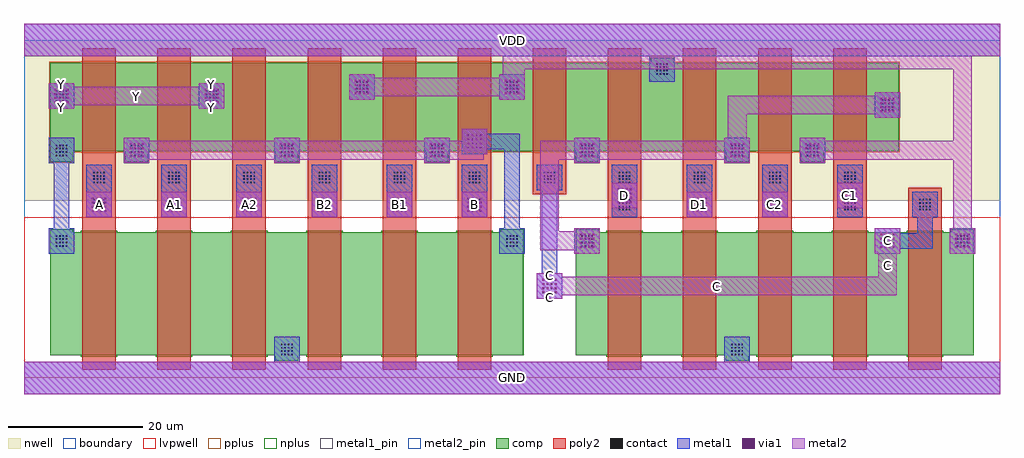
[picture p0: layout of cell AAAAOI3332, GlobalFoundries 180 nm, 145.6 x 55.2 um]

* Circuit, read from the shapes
.subckt AAAAOI3332 A A1 A2 B B1 B2 C C1 C2 D D1 GND VDD Y
XM1 n1 A Y VSUBS nfet_03v3 w=18.3u l=5u
XM2 n2 A1 n1 VSUBS nfet_03v3 w=18.3u l=5u
XM3 GND A2 n2 VSUBS nfet_03v3 w=18.3u l=5u
XM4 n3 B2 GND VSUBS nfet_03v3 w=18.3u l=5u
XM5 n4 B1 n3 VSUBS nfet_03v3 w=18.3u l=5u
XM6 n5 B n4 VSUBS nfet_03v3 w=18.3u l=5u
XM7 n6 D n7 VSUBS nfet_03v3 w=18.3u l=5u
XM8 GND D1 n6 VSUBS nfet_03v3 w=18.3u l=5u
XM9 n8 C2 GND VSUBS nfet_03v3 w=18.3u l=5u
XM10 n9 C1 n8 VSUBS nfet_03v3 w=18.3u l=5u
XM11 n10 C n9 VSUBS nfet_03v3 w=18.3u l=5u
XM12 n5 A Y n11 pfet_03v3 w=13.2u l=5u
XM13 Y A1 n5 n11 pfet_03v3 w=13.2u l=5u
XM14 n5 A2 Y n11 pfet_03v3 w=13.2u l=5u
XM15 n10 B2 n5 n11 pfet_03v3 w=13.2u l=5u
XM16 n5 B1 n10 n11 pfet_03v3 w=13.2u l=5u
XM17 n10 B n5 n11 pfet_03v3 w=13.2u l=5u
XM18 n7 C n10 n11 pfet_03v3 w=13.2u l=5u
XM19 VDD D n7 n11 pfet_03v3 w=13.2u l=5u
XM20 n7 D1 VDD n11 pfet_03v3 w=13.2u l=5u
XM21 n10 C2 n7 n11 pfet_03v3 w=13.2u l=5u
XM22 n7 C1 n10 n11 pfet_03v3 w=13.2u l=5u
.ends

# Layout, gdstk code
import gdstk
lib = gdstk.Library(unit=1e-6, precision=1e-09)
def R(c, l, rs):  # rectangles x0, y0, x1, y1
    for r in rs: c.add(gdstk.rectangle(r[:2], r[2:], *l))
def A(c, l, x, y, w, h, nx, ny, dx, dy):  # array of equal rectangles
    R(c, l, [(x+i*dx, y+j*dy, x+i*dx+w, y+j*dy+h) for i in range(nx) for j in range(ny)])
boundary = (0, 0)
nwell = (21, 0)
comp = (22, 0)
poly2 = (30, 0)
pplus = (31, 0)
nplus = (32, 0)
contact = (33, 0)
metal1 = (34, 0)
metal1_pin = (34, 10)
via1 = (35, 0)
metal2 = (36, 0)
metal2_pin = (36, 10)
lvpwell = (204, 0)

aaaaoi3332 = lib.new_cell('AAAAOI3332')
R(aaaaoi3332, boundary, [(0,0,145.6,50.4)])
R(aaaaoi3332, nwell, [(0,26.45,145.6,50.4)])
A(aaaaoi3332, comp, 15.1, 32.25, 3.4, 1.55, 5, 1, 22.4, 0)
R(aaaaoi3332, comp, [(37.5,2.55,40.9,3.4), (104.7,2.55,108.1,3.4), (3.9,3.4,74.5,21.7), (82.3,3.4,141.7,21.7), (3.9,21.7,7.3,22.15), (71.1,21.7,74.5,22.15), (82.3,21.7,85.7,22.15), (138.3,21.7,141.7,22.15), (3.9,32.25,7.3,33.8), (115.9,32.25,119.3,33.8), (3.9,33.8,130.5,47), (93.5,47,96.9,47.8)])
A(aaaaoi3332, poly2, 8.7, 1.2, 5, 48, 6, 1, 11.2, 0)
A(aaaaoi3332, poly2, 87.1, 1.2, 5, 48, 4, 1, 11.2, 0)
R(aaaaoi3332, poly2, [(131.9,1.2,136.9,28.35), (75.9,27.4,80.9,49.2)])
A(aaaaoi3332, pplus, 14.94, 32.09, 3.72, 1.55, 5, 1, 22.4, 0)
A(aaaaoi3332, pplus, 8.47, 33.57, 5.46, 0.07, 11, 2, 11.2, 13.59)
R(aaaaoi3332, pplus, [(3.74,32.09,7.46,33.64), (115.74,32.09,119.46,33.64), (3.74,33.64,130.66,47.16), (93.34,47.16,97.06,47.96)])
A(aaaaoi3332, nplus, 8.47, 3.17, 5.46, 0.21, 6, 2, 11.2, 18.55)
A(aaaaoi3332, nplus, 86.87, 3.17, 5.46, 0.21, 5, 2, 11.2, 18.55)
R(aaaaoi3332, nplus, [(37.48,2.53,40.92,3.38), (104.68,2.53,108.12,3.38), (3.88,3.38,74.52,21.72), (82.28,3.38,141.72,21.72), (3.88,21.72,7.32,22.17), (71.08,21.72,74.52,22.17), (82.28,21.72,85.72,22.17), (138.28,21.72,141.72,22.17)])
A(aaaaoi3332, contact, 38.34, 3.39, 0.22, 0.22, 4, 4, 0.5, 0.5)
A(aaaaoi3332, contact, 105.54, 3.39, 0.22, 0.22, 4, 4, 0.5, 0.5)
A(aaaaoi3332, contact, 4.74, 19.59, 0.22, 0.22, 4, 4, 0.5, 0.5)
A(aaaaoi3332, contact, 71.94, 19.59, 0.22, 0.22, 4, 4, 0.5, 0.5)
A(aaaaoi3332, contact, 83.14, 19.59, 0.22, 0.22, 4, 4, 0.5, 0.5)
A(aaaaoi3332, contact, 139.14, 19.59, 0.22, 0.22, 4, 4, 0.5, 0.5)
A(aaaaoi3332, contact, 10.34, 24.99, 0.22, 0.22, 4, 4, 0.5, 0.5)
A(aaaaoi3332, contact, 21.54, 24.99, 0.22, 0.22, 4, 4, 0.5, 0.5)
A(aaaaoi3332, contact, 32.74, 24.99, 0.22, 0.22, 4, 4, 0.5, 0.5)
A(aaaaoi3332, contact, 43.94, 24.99, 0.22, 0.22, 4, 4, 0.5, 0.5)
A(aaaaoi3332, contact, 55.14, 24.99, 0.22, 0.22, 4, 4, 0.5, 0.5)
A(aaaaoi3332, contact, 66.34, 24.99, 0.22, 0.22, 4, 4, 0.5, 0.5)
A(aaaaoi3332, contact, 88.74, 24.99, 0.22, 0.22, 4, 4, 0.5, 0.5)
A(aaaaoi3332, contact, 99.94, 24.99, 0.22, 0.22, 4, 4, 0.5, 0.5)
A(aaaaoi3332, contact, 111.14, 24.99, 0.22, 0.22, 4, 4, 0.5, 0.5)
A(aaaaoi3332, contact, 122.34, 24.99, 0.22, 0.22, 4, 4, 0.5, 0.5)
A(aaaaoi3332, contact, 133.54, 24.99, 0.22, 0.22, 4, 4, 0.5, 0.5)
A(aaaaoi3332, contact, 10.34, 29.04, 0.22, 0.22, 4, 4, 0.5, 0.5)
A(aaaaoi3332, contact, 21.54, 29.04, 0.22, 0.22, 4, 4, 0.5, 0.5)
A(aaaaoi3332, contact, 32.74, 29.04, 0.22, 0.22, 4, 4, 0.5, 0.5)
A(aaaaoi3332, contact, 43.94, 29.04, 0.22, 0.22, 4, 4, 0.5, 0.5)
A(aaaaoi3332, contact, 55.14, 29.04, 0.22, 0.22, 4, 4, 0.5, 0.5)
A(aaaaoi3332, contact, 66.34, 29.04, 0.22, 0.22, 4, 4, 0.5, 0.5)
A(aaaaoi3332, contact, 77.54, 29.04, 0.22, 0.22, 4, 4, 0.5, 0.5)
A(aaaaoi3332, contact, 88.74, 29.04, 0.22, 0.22, 4, 4, 0.5, 0.5)
A(aaaaoi3332, contact, 99.94, 29.04, 0.22, 0.22, 4, 4, 0.5, 0.5)
A(aaaaoi3332, contact, 111.14, 29.04, 0.22, 0.22, 4, 4, 0.5, 0.5)
A(aaaaoi3332, contact, 122.34, 29.04, 0.22, 0.22, 4, 4, 0.5, 0.5)
A(aaaaoi3332, contact, 4.74, 33.09, 0.22, 0.22, 4, 4, 0.5, 0.5)
A(aaaaoi3332, contact, 15.94, 33.09, 0.22, 0.22, 4, 4, 0.5, 0.5)
A(aaaaoi3332, contact, 38.34, 33.09, 0.22, 0.22, 4, 4, 0.5, 0.5)
A(aaaaoi3332, contact, 60.74, 33.09, 0.22, 0.22, 4, 4, 0.5, 0.5)
A(aaaaoi3332, contact, 83.14, 33.09, 0.22, 0.22, 4, 4, 0.5, 0.5)
A(aaaaoi3332, contact, 105.54, 33.09, 0.22, 0.22, 4, 4, 0.5, 0.5)
A(aaaaoi3332, contact, 116.74, 33.09, 0.22, 0.22, 4, 4, 0.5, 0.5)
A(aaaaoi3332, contact, 127.94, 39.84, 0.22, 0.22, 4, 4, 0.5, 0.5)
A(aaaaoi3332, contact, 4.74, 41.19, 0.22, 0.22, 4, 4, 0.5, 0.5)
A(aaaaoi3332, contact, 27.14, 41.19, 0.22, 0.22, 4, 4, 0.5, 0.5)
A(aaaaoi3332, contact, 49.54, 42.54, 0.22, 0.22, 4, 4, 0.5, 0.5)
A(aaaaoi3332, contact, 71.94, 42.54, 0.22, 0.22, 4, 4, 0.5, 0.5)
A(aaaaoi3332, contact, 94.34, 45.24, 0.22, 0.22, 4, 4, 0.5, 0.5)
A(aaaaoi3332, metal1, 9.3, 23.95, 3.8, 7.85, 6, 1, 11.2, 0)
A(aaaaoi3332, metal1, 87.7, 23.95, 3.8, 7.85, 4, 1, 11.2, 0)
A(aaaaoi3332, metal1, 14.9, 32.05, 3.8, 3.8, 5, 1, 22.4, 0)
R(aaaaoi3332, metal1, [(0,-2.4,145.6,2.4), (37.3,2.4,41.1,6.15), (104.5,2.4,108.3,6.15), (76.5,11.8,80.3,15.6), (77.25,15.6,79.55,28), (3.7,18.55,7.5,22.35), (70.9,18.55,74.7,22.35), (82.1,18.55,85.9,22.35), (126.9,18.55,130.7,19.3), (138.1,18.55,141.9,22.35), (126.9,19.3,135.55,21.6), (126.9,21.6,130.7,22.35), (133.25,21.6,135.55,23.95), (4.45,22.35,6.75,32.05), (71.65,22.35,73.95,34.15), (132.5,23.95,136.3,27.75), (76.5,28,80.3,31.8), (3.7,32.05,7.5,35.85), (115.7,32.05,119.5,35.85), (65.3,33.4,69.1,34.15), (65.3,34.15,73.95,36.45), (65.3,36.45,69.1,37.2), (126.9,38.8,130.7,42.6), (3.7,40.15,7.5,43.95), (26.1,40.15,29.9,43.95), (48.5,41.5,52.3,45.3), (70.9,41.5,74.7,45.3), (93.3,44.2,97.1,48), (0,48,145.6,52.8)])
R(aaaaoi3332, metal1_pin, [(0,-2.4,145.6,2.4), (0,48,145.6,52.8)])
A(aaaaoi3332, via1, 77.34, 12.64, 0.26, 0.26, 4, 4, 0.62, 0.62)
A(aaaaoi3332, via1, 82.94, 19.39, 0.26, 0.26, 4, 4, 0.62, 0.62)
A(aaaaoi3332, via1, 127.74, 19.39, 0.26, 0.26, 4, 4, 0.62, 0.62)
A(aaaaoi3332, via1, 138.94, 19.39, 0.26, 0.26, 4, 4, 0.62, 0.62)
A(aaaaoi3332, via1, 10.14, 24.79, 0.26, 0.26, 4, 4, 0.62, 0.62)
A(aaaaoi3332, via1, 21.34, 24.79, 0.26, 0.26, 4, 4, 0.62, 0.62)
A(aaaaoi3332, via1, 32.54, 24.79, 0.26, 0.26, 4, 4, 0.62, 0.62)
A(aaaaoi3332, via1, 43.74, 24.79, 0.26, 0.26, 4, 4, 0.62, 0.62)
A(aaaaoi3332, via1, 54.94, 24.79, 0.26, 0.26, 4, 4, 0.62, 0.62)
A(aaaaoi3332, via1, 66.14, 24.79, 0.26, 0.26, 4, 4, 0.62, 0.62)
A(aaaaoi3332, via1, 99.74, 24.79, 0.26, 0.26, 4, 4, 0.62, 0.62)
A(aaaaoi3332, via1, 110.94, 24.79, 0.26, 0.26, 4, 4, 0.62, 0.62)
A(aaaaoi3332, via1, 88.54, 26.14, 0.26, 0.26, 4, 4, 0.62, 0.62)
A(aaaaoi3332, via1, 122.14, 26.14, 0.26, 0.26, 4, 4, 0.62, 0.62)
A(aaaaoi3332, via1, 15.74, 32.89, 0.26, 0.26, 4, 4, 0.62, 0.62)
A(aaaaoi3332, via1, 38.14, 32.89, 0.26, 0.26, 4, 4, 0.62, 0.62)
A(aaaaoi3332, via1, 60.54, 32.89, 0.26, 0.26, 4, 4, 0.62, 0.62)
A(aaaaoi3332, via1, 82.94, 32.89, 0.26, 0.26, 4, 4, 0.62, 0.62)
A(aaaaoi3332, via1, 105.34, 32.89, 0.26, 0.26, 4, 4, 0.62, 0.62)
A(aaaaoi3332, via1, 116.54, 32.89, 0.26, 0.26, 4, 4, 0.62, 0.62)
A(aaaaoi3332, via1, 66.14, 34.24, 0.26, 0.26, 4, 4, 0.62, 0.62)
A(aaaaoi3332, via1, 127.74, 39.64, 0.26, 0.26, 4, 4, 0.62, 0.62)
A(aaaaoi3332, via1, 4.54, 40.99, 0.26, 0.26, 4, 4, 0.62, 0.62)
A(aaaaoi3332, via1, 26.94, 40.99, 0.26, 0.26, 4, 4, 0.62, 0.62)
A(aaaaoi3332, via1, 49.34, 42.34, 0.26, 0.26, 4, 4, 0.62, 0.62)
A(aaaaoi3332, via1, 71.74, 42.34, 0.26, 0.26, 4, 4, 0.62, 0.62)
A(aaaaoi3332, metal2, 9.3, 23.95, 3.8, 3.8, 6, 1, 11.2, 0)
A(aaaaoi3332, metal2, 14.9, 32.05, 3.8, 0.5, 5, 2, 22.4, 3.3)
R(aaaaoi3332, metal2, [(0,-2.4,145.6,2.4), (76.5,11.8,80.3,12.3), (76.5,12.3,130.2,15.1), (76.5,15.1,80.3,15.6), (127.4,15.1,130.2,18.55), (82.1,18.55,85.9,19.05), (126.9,18.55,130.7,22.35), (138.1,18.55,141.9,22.35), (77,19.05,85.9,21.85), (77,21.85,79.8,32.55), (82.1,21.85,85.9,22.35), (138.6,22.35,141.4,32.55), (98.9,23.95,102.7,27.75), (110.1,23.95,113.9,27.75), (87.7,25.3,91.5,29.1), (121.3,25.3,125.1,29.1), (115.7,32.05,119.5,32.55), (14.9,32.55,68.6,33.4), (77,32.55,108.3,35.35), (115.7,32.55,141.4,35.35), (14.9,33.4,69.1,35.35), (65.3,35.35,69.1,37.2), (115.7,35.35,119.5,35.85), (138.6,35.35,141.4,46.05), (105,35.85,107.8,39.3), (126.9,38.8,130.7,39.3), (105,39.3,130.7,42.1), (3.7,40.15,7.5,40.65), (26.1,40.15,29.9,40.65), (3.7,40.65,29.9,43.45), (48.5,41.5,52.3,42), (70.9,41.5,74.7,42), (48.5,42,74.7,44.8), (126.9,42.1,130.7,42.6), (3.7,43.45,7.5,43.95), (26.1,43.45,29.9,43.95), (48.5,44.8,52.3,45.3), (70.9,44.8,74.7,45.3), (71.4,45.3,74.7,46.05), (71.4,46.05,141.4,48), (0,48,145.6,52.8)])
A(aaaaoi3332, metal2_pin, 9.3, 23.95, 3.8, 3.8, 6, 1, 11.2, 0)
R(aaaaoi3332, metal2_pin, [(76.5,11.8,80.3,12.3), (76.5,12.3,130.2,15.1), (76.5,15.1,80.3,15.6), (127.4,15.1,130.2,18.55), (126.9,18.55,130.7,22.35), (98.9,23.95,102.7,27.75), (110.1,23.95,113.9,27.75), (87.7,25.3,91.5,29.1), (121.3,25.3,125.1,29.1), (3.7,40.15,7.5,40.65), (26.1,40.15,29.9,40.65), (3.7,40.65,29.9,43.45), (3.7,43.45,7.5,43.95), (26.1,43.45,29.9,43.95)])
R(aaaaoi3332, lvpwell, [(0,0,145.6,23.95)])
aaaaoi3332.add(gdstk.Label('VDD', (72.8,50.4), layer=34, texttype=10))
aaaaoi3332.add(gdstk.Label('GND', (72.8,0), layer=34, texttype=10))
aaaaoi3332.add(gdstk.Label('Y', (5.6,40.4), layer=36, texttype=10))
aaaaoi3332.add(gdstk.Label('Y', (28,40.4), layer=36, texttype=10))
aaaaoi3332.add(gdstk.Label('Y', (16.8,42.05), layer=36, texttype=10))
aaaaoi3332.add(gdstk.Label('Y', (5.6,43.7), layer=36, texttype=10))
aaaaoi3332.add(gdstk.Label('Y', (28,43.7), layer=36, texttype=10))
aaaaoi3332.add(gdstk.Label('C2', (112,25.85), layer=36, texttype=10))
aaaaoi3332.add(gdstk.Label('A1', (22.4,25.85), layer=36, texttype=10))
aaaaoi3332.add(gdstk.Label('A', (11.2,25.85), layer=36, texttype=10))
aaaaoi3332.add(gdstk.Label('A2', (33.6,25.85), layer=36, texttype=10))
aaaaoi3332.add(gdstk.Label('B', (67.2,25.85), layer=36, texttype=10))
aaaaoi3332.add(gdstk.Label('C', (78.4,12.05), layer=36, texttype=10))
aaaaoi3332.add(gdstk.Label('C', (103.35,13.7), layer=36, texttype=10))
aaaaoi3332.add(gdstk.Label('C', (78.4,15.35), layer=36, texttype=10))
aaaaoi3332.add(gdstk.Label('C', (128.8,16.825), layer=36, texttype=10))
aaaaoi3332.add(gdstk.Label('C', (128.8,20.45), layer=36, texttype=10))
aaaaoi3332.add(gdstk.Label('B2', (44.8,25.85), layer=36, texttype=10))
aaaaoi3332.add(gdstk.Label('B1', (56,25.85), layer=36, texttype=10))
aaaaoi3332.add(gdstk.Label('D1', (100.8,25.85), layer=36, texttype=10))
aaaaoi3332.add(gdstk.Label('D', (89.6,27.2), layer=36, texttype=10))
aaaaoi3332.add(gdstk.Label('C1', (123.2,27.2), layer=36, texttype=10))

lib.write_gds('AAAAOI3332.gds')
